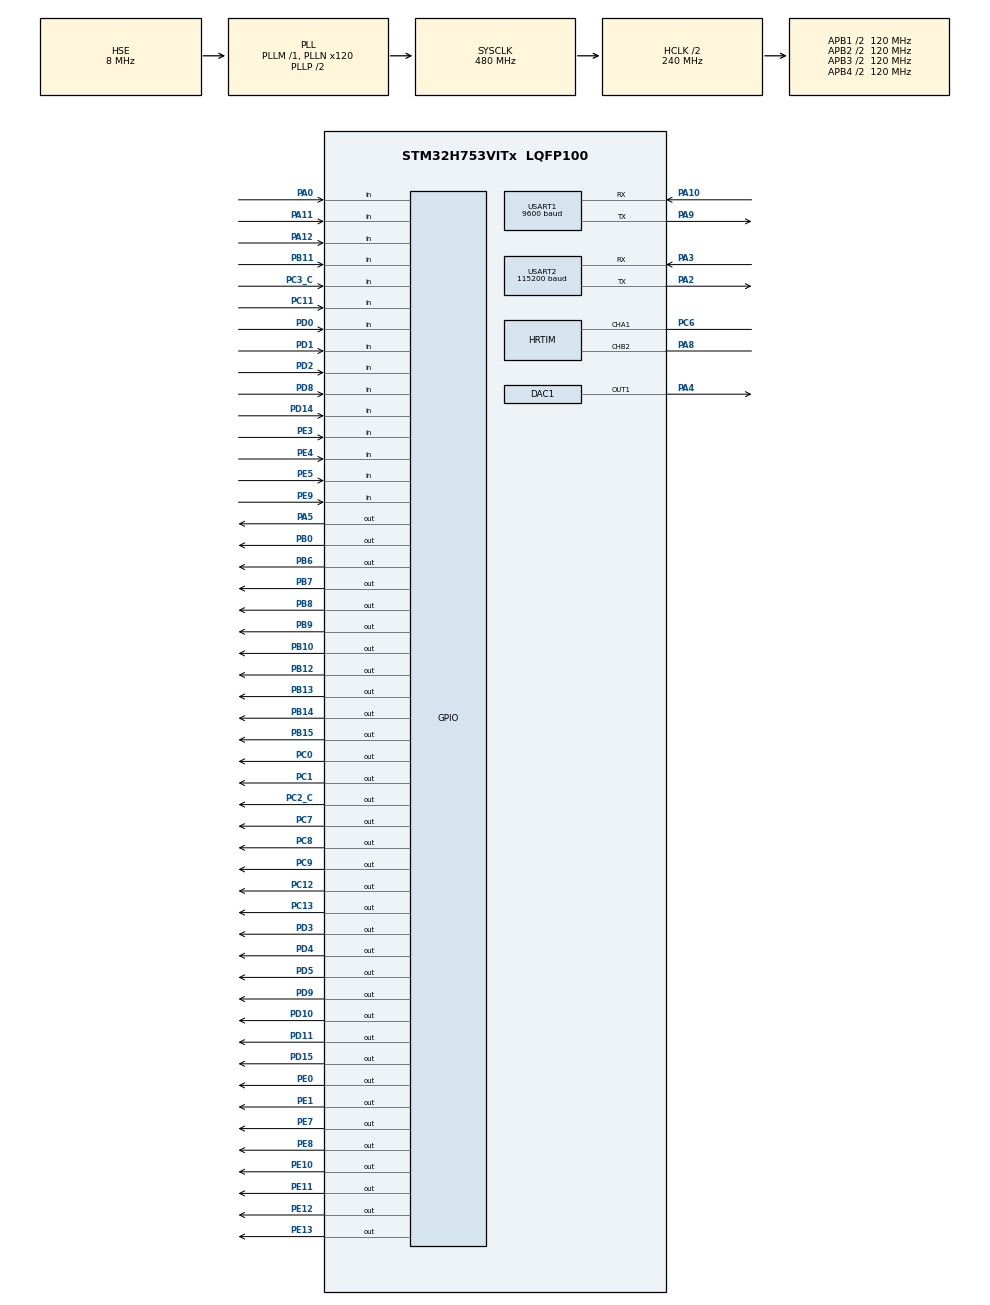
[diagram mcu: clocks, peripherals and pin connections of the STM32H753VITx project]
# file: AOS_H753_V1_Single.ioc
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CORTEX_M7.Enable_Spec=__NULL
CORTEX_M7.MPU_Control=__NULL
CORTEX_M7.default_mode_Activation=0
DAC1.DAC_Channel-DAC_OUT1=DAC_CHANNEL_1
HRTIM.CompareUnit1-Output_TA1=HRTIM_COMPAREUNIT_1
HRTIM.CompareUnit1-Output_TB2=HRTIM_COMPAREUNIT_1
HRTIM.PreloadEnable-Output_TA1=HRTIM_PRELOAD_ENABLED
HRTIM.RepetitionUpdate-Output_TA1=HRTIM_UPDATEONREPETITION_ENABLED
Mcu.Family=STM32H7
Mcu.Name=STM32H753VITx
Mcu.Package=LQFP100
NVIC.PriorityGroup=NVIC_PRIORITYGROUP_4
NVIC.TIM2_IRQn=true\:0\:0\:false\:false\:true\:true\:true\:true
NVIC.TIM3_IRQn=true\:0\:0\:false\:false\:true\:true\:true\:true
NVIC.TIM4_IRQn=true\:0\:0\:false\:false\:true\:true\:true\:true
NVIC.USART2_IRQn=true\:0\:0\:false\:false\:true\:true\:true\:true
PA0.Signal=GPIO_Input
PA10.Mode=Asynchronous
PA10.Signal=USART1_RX
PA11.Signal=GPIO_Input
PA12.Signal=GPIO_Input
PA2.Mode=Asynchronous
PA2.Signal=USART2_TX
PA3.Mode=Asynchronous
PA3.Signal=USART2_RX
PA4.Signal=COMP_DAC11_group
PA5.Signal=GPIO_Output
PA7.Signal=SPI1_MOSI
PA8.Mode=Output_TB2
PA8.Signal=HRTIM_CHB2
PA9.Mode=Asynchronous
PA9.Signal=USART1_TX
PB0.Signal=GPIO_Output
PB10.Signal=GPIO_Output
PB11.Signal=GPIO_Input
PB12.Signal=GPIO_Output
PB13.Signal=GPIO_Output
PB14.Signal=GPIO_Output
PB15.Signal=GPIO_Output
PB6.Signal=GPIO_Output
PB7.Signal=GPIO_Output
PB8.Signal=GPIO_Output
PB9.Signal=GPIO_Output
PC0.Signal=GPIO_Output
PC1.Signal=GPIO_Output
PC11.Signal=GPIO_Input
PC12.Signal=GPIO_Output
PC13.Signal=GPIO_Output
PC14-OSC32_IN\ (OSC32_IN).Mode=LSE-External-Oscillator
PC14-OSC32_IN\ (OSC32_IN).Signal=RCC_OSC32_IN
PC15-OSC32_OUT\ (OSC32_OUT).Mode=LSE-External-Oscillator
PC15-OSC32_OUT\ (OSC32_OUT).Signal=RCC_OSC32_OUT
PC2_C.Signal=GPIO_Output
PC3_C.Signal=GPIO_Input
PC6.Mode=Output_TA1
PC6.Signal=HRTIM_CHA1
PC7.Signal=GPIO_Output
PC8.Signal=GPIO_Output
PC9.Signal=GPIO_Output
PD0.Signal=GPIO_Input
PD1.Signal=GPIO_Input
PD10.Signal=GPIO_Output
PD11.Signal=GPIO_Output
PD14.Signal=GPIO_Input
PD15.Signal=GPIO_Output
PD2.Signal=GPIO_Input
PD3.Signal=GPIO_Output
PD4.Signal=GPIO_Output
PD5.Signal=GPIO_Output
PD8.Signal=GPIO_Input
PD9.Signal=GPIO_Output
PE0.Signal=GPIO_Output
PE1.Signal=GPIO_Output
PE10.Signal=GPIO_Output
PE11.Signal=GPIO_Output
PE12.Signal=GPIO_Output
PE13.Signal=GPIO_Output
PE3.Signal=GPIO_Input
PE4.Signal=GPIO_Input
PE5.Signal=GPIO_Input
PE7.Signal=GPIO_Output
PE8.Signal=GPIO_Output
PE9.Signal=GPIO_Input
PH0-OSC_IN\ (PH0).Mode=HSE-External-Oscillator
PH0-OSC_IN\ (PH0).Signal=RCC_OSC_IN
PH1-OSC_OUT\ (PH1).Mode=HSE-External-Oscillator
PH1-OSC_OUT\ (PH1).Signal=RCC_OSC_OUT
ProjectManager.HeapSize=0x800
ProjectManager.StackSize=0x800
ProjectManager.TargetToolchain=STM32CubeIDE
RCC.ADCCLockSelection=RCC_ADCCLKSOURCE_CLKP
RCC.ADCFreq_Value=32000000
RCC.APB1Freq_Value=120000000
RCC.APB2Freq_Value=120000000
RCC.APB3Freq_Value=120000000
RCC.APB4Freq_Value=120000000
RCC.CortexFreq_Value=480000000
RCC.D1PPRE=RCC_APB3_DIV2
RCC.D2PPRE1=RCC_APB1_DIV2
RCC.D2PPRE2=RCC_APB2_DIV2
RCC.D3PPRE=RCC_APB4_DIV2
RCC.DIVM1=1
RCC.DIVM2=1
RCC.DIVN1=120
RCC.DIVN2=20
RCC.DIVP2=8
RCC.HCLKFreq_Value=240000000
RCC.HPRE=RCC_HCLK_DIV2
RCC.HRTIMCLockSelection=RCC_HRTIM1CLK_CPUCLK
RCC.HSE_VALUE=8000000
RCC.HSIDiv=RCC_PLLSAIDIVR_2
RCC.PLL1_VCI_Range-AdvancedSettings=RCC_PLL1VCIRANGE_0
RCC.PLL2FRACN=0
RCC.PLL2_VCI_Range-AdvancedSettings=RCC_PLL2VCIRANGE_0
RCC.PLL3FRACN=0
RCC.PLL3_VCI_Range-AdvancedSettings=RCC_PLL3VCIRANGE_0
RCC.PLLFRACN=0
RCC.PLLSourceVirtual=RCC_PLLSOURCE_HSE
RCC.SPI123CLockSelection=RCC_SPI123CLKSOURCE_PLL2
RCC.SYSCLKFreq_VALUE=480000000
RCC.SYSCLKSource=RCC_SYSCLKSOURCE_PLLCLK
RCC.USBFreq_Value=480000000
SH.COMP_DAC11_group.0=DAC1_OUT1,DAC_OUT1
TIM2.Period=240-1
TIM2.Prescaler=999
TIM3.Period=240-1
TIM3.Prescaler=9999
TIM4.Period=280-1
TIM4.Prescaler=100-1
TIM4.TIM_MasterOutputTrigger=TIM_TRGO_UPDATE
TIM4.TIM_MasterSlaveMode=TIM_MASTERSLAVEMODE_ENABLE
USART1.BaudRate=9600
USART1.VirtualMode-Asynchronous=VM_ASYNC
USART2.BaudRate=115200
USART2.VirtualMode-Asynchronous=VM_ASYNC
VP_HRTIM_VS_hrtimMasterTimerNoOutput.Mode=MasterTimer
VP_MEMORYMAP_VS_MEMORYMAP.Mode=CurAppReg
VP_TIM2_VS_ClockSourceINT.Mode=Internal
VP_TIM2_VS_ClockSourceITR.Mode=TriggerSource_ITR0
VP_TIM3_VS_ClockSourceINT.Mode=Internal
VP_TIM3_VS_ClockSourceITR.Mode=TriggerSource_ITR0
VP_TIM4_VS_ClockSourceINT.Mode=Internal
board=custom

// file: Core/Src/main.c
/* USER CODE BEGIN Header */
/**
  ******************************************************************************
  * @file           : main.c
  * @brief          : Main program body
  ******************************************************************************
  * @attention
  *
  * Copyright (c) 2025 STMicroelectronics.
  * All rights reserved.
  *
  * This software is licensed under terms that can be found in the LICENSE file
  * in the root directory of this software component.
  * If no LICENSE file comes with this software, it is provided AS-IS.
  *
  ******************************************************************************
  */
/* USER CODE END Header */
#include "main.h"

/* USER CODE BEGIN Includes */
#include "UART_PC.h"
#include "MyGPIOSet.h"
#include "ScanCTL.h"
#include "util.h"

/* USER CODE END Includes */

DAC_HandleTypeDef hdac1;

HRTIM_HandleTypeDef hhrtim;

TIM_HandleTypeDef htim2;
TIM_HandleTypeDef htim3;
TIM_HandleTypeDef htim4;

UART_HandleTypeDef huart1;
UART_HandleTypeDef huart2;

void SystemClock_Config(void);
static void MX_GPIO_Init(void);
static void MX_HRTIM_Init(void);
static void MX_TIM2_Init(void);
static void MX_TIM3_Init(void);
static void MX_USART1_UART_Init(void);
static void MX_USART2_UART_Init(void);
static void MX_TIM4_Init(void);
static void MX_DAC1_Init(void);

/* USER CODE BEGIN 0 */
HRTIM_TimeBaseCfgTypeDef            sConfig_time_base;
HRTIM_SimplePWMChannelCfgTypeDef    sConfig_Channel;
void Wave_Start_Ctl();
void HRTIM_SetPeriod(HRTIM_HandleTypeDef *hhrtim, uint32_t TimerIdx, uint32_t Period);
void HRTIM_SetCompare(HRTIM_HandleTypeDef *hhrtim, uint32_t TimerIdx, uint32_t CompareUnit, uint32_t Compare);

uint8_t rx1_byte;
//uint8_t rx1_byte_mod;
/* USER CODE END 0 */

int main(void)
{

  /* MCU Configuration--------------------------------------------------------*/

  /* Reset of all peripherals, Initializes the Flash interface and the Systick. */
  HAL_Init();

  /* USER CODE BEGIN Init */
  MData.BUS_CLOCK_CAL=480000;
  /* USER CODE END Init */

  /* Configure the system clock */
  SystemClock_Config();

  /* Initialize all configured peripherals */
  MX_GPIO_Init();
  MX_HRTIM_Init();
  MX_TIM2_Init();
  MX_TIM3_Init();
  MX_USART1_UART_Init();
  MX_USART2_UART_Init();
  MX_TIM4_Init();
  MX_DAC1_Init();

  /* Infinite loop */
  /* USER CODE BEGIN WHILE */

  //if (HAL_ADC_Start_DMA(&hadc1, (uint32_t*)adc_buffer, ADC_BUFFER_SIZE) != HAL_OK) printf("DMA Start Error!\r\n");

  	HAL_TIM_Base_Start_IT(&htim2);
  	HAL_TIM_Base_Start_IT(&htim3);
  	HAL_UART_Receive_IT(&huart2, &rx1_byte, 1);

  	System_Init();

  	DWT_Init(); // 한 번만 호출

  	//V1.7.x
  	HAL_DAC_Start(&hdac1, DAC_CHANNEL_1);
	while (1)
	{

    /* USER CODE END WHILE */

    /* USER CODE BEGIN 3 */

	  Main_CTL();
	  if(MData.FLAG.LED)
	  {
		  MData.FLAG.LED=false;
		  HAL_GPIO_TogglePin(GPIOB, GPIO_PIN_7);//LED
		  HAL_GPIO_TogglePin(GPIOB, GPIO_PIN_8);//LED
	  }

		if(MData.FLAG.UART_ERROR_RECOVER)
		{
			MData.FLAG.UART_ERROR_RECOVER=false;
			MData.UART_RECOVER_Count++;
			UART2_Recover();
		}
	}
  /* USER CODE END 3 */
}

void SystemClock_Config(void)
{
  RCC_OscInitTypeDef RCC_OscInitStruct = {0};
  RCC_ClkInitTypeDef RCC_ClkInitStruct = {0};

  /** Supply configuration update enable
  */
  HAL_PWREx_ConfigSupply(PWR_LDO_SUPPLY);

  /** Configure the main internal regulator output voltage
  */
  __HAL_PWR_VOLTAGESCALING_CONFIG(PWR_REGULATOR_VOLTAGE_SCALE0);

  while(!__HAL_PWR_GET_FLAG(PWR_FLAG_VOSRDY)) {}

  /** Initializes the RCC Oscillators according to the specified parameters
  * in the RCC_OscInitTypeDef structure.
  */
  RCC_OscInitStruct.OscillatorType = RCC_OSCILLATORTYPE_HSE;
  RCC_OscInitStruct.HSEState = RCC_HSE_ON;
  RCC_OscInitStruct.PLL.PLLState = RCC_PLL_ON;
  RCC_OscInitStruct.PLL.PLLSource = RCC_PLLSOURCE_HSE;
  RCC_OscInitStruct.PLL.PLLM = 1;
  RCC_OscInitStruct.PLL.PLLN = 120;
  RCC_OscInitStruct.PLL.PLLP = 2;
  RCC_OscInitStruct.PLL.PLLQ = 2;
  RCC_OscInitStruct.PLL.PLLR = 2;
  RCC_OscInitStruct.PLL.PLLRGE = RCC_PLL1VCIRANGE_3;
  RCC_OscInitStruct.PLL.PLLVCOSEL = RCC_PLL1VCOWIDE;
  RCC_OscInitStruct.PLL.PLLFRACN = 0;
  if (HAL_RCC_OscConfig(&RCC_OscInitStruct) != HAL_OK)
  {
    Error_Handler();
  }

  /** Initializes the CPU, AHB and APB buses clocks
  */
  RCC_ClkInitStruct.ClockType = RCC_CLOCKTYPE_HCLK|RCC_CLOCKTYPE_SYSCLK
                              |RCC_CLOCKTYPE_PCLK1|RCC_CLOCKTYPE_PCLK2
                              |RCC_CLOCKTYPE_D3PCLK1|RCC_CLOCKTYPE_D1PCLK1;
  RCC_ClkInitStruct.SYSCLKSource = RCC_SYSCLKSOURCE_PLLCLK;
  RCC_ClkInitStruct.SYSCLKDivider = RCC_SYSCLK_DIV1;
  RCC_ClkInitStruct.AHBCLKDivider = RCC_HCLK_DIV2;
  RCC_ClkInitStruct.APB3CLKDivider = RCC_APB3_DIV2;
  RCC_ClkInitStruct.APB1CLKDivider = RCC_APB1_DIV2;
  RCC_ClkInitStruct.APB2CLKDivider = RCC_APB2_DIV2;
  RCC_ClkInitStruct.APB4CLKDivider = RCC_APB4_DIV2;

  if (HAL_RCC_ClockConfig(&RCC_ClkInitStruct, FLASH_LATENCY_4) != HAL_OK)
  {
    Error_Handler();
  }
}

static void MX_DAC1_Init(void)
{

  DAC_ChannelConfTypeDef sConfig = {0};

  /** DAC Initialization
  */
  hdac1.Instance = DAC1;
  if (HAL_DAC_Init(&hdac1) != HAL_OK)
  {
    Error_Handler();
  }

  /** DAC channel OUT1 config
  */
  sConfig.DAC_SampleAndHold = DAC_SAMPLEANDHOLD_DISABLE;
  sConfig.DAC_Trigger = DAC_TRIGGER_NONE;
  sConfig.DAC_OutputBuffer = DAC_OUTPUTBUFFER_ENABLE;
  sConfig.DAC_ConnectOnChipPeripheral = DAC_CHIPCONNECT_DISABLE;
  sConfig.DAC_UserTrimming = DAC_TRIMMING_FACTORY;
  if (HAL_DAC_ConfigChannel(&hdac1, &sConfig, DAC_CHANNEL_1) != HAL_OK)
  {
    Error_Handler();
  }

}

static void MX_HRTIM_Init(void)
{

  HRTIM_TimeBaseCfgTypeDef pTimeBaseCfg = {0};
  HRTIM_TimerCfgTypeDef pTimerCfg = {0};
  HRTIM_CompareCfgTypeDef pCompareCfg = {0};
  HRTIM_OutputCfgTypeDef pOutputCfg = {0};

  hhrtim.Instance = HRTIM1;
  hhrtim.Init.HRTIMInterruptResquests = HRTIM_IT_NONE;
  hhrtim.Init.SyncOptions = HRTIM_SYNCOPTION_NONE;
  if (HAL_HRTIM_Init(&hhrtim) != HAL_OK)
  {
    Error_Handler();
  }
  pTimeBaseCfg.Period = 0xFFFD;
  pTimeBaseCfg.RepetitionCounter = 0x00;
  pTimeBaseCfg.PrescalerRatio = HRTIM_PRESCALERRATIO_DIV1;
  pTimeBaseCfg.Mode = HRTIM_MODE_CONTINUOUS;
  if (HAL_HRTIM_TimeBaseConfig(&hhrtim, HRTIM_TIMERINDEX_MASTER, &pTimeBaseCfg) != HAL_OK)
  {
    Error_Handler();
  }
  pTimerCfg.InterruptRequests = HRTIM_MASTER_IT_NONE;
  pTimerCfg.DMARequests = HRTIM_MASTER_DMA_NONE;
  pTimerCfg.DMASrcAddress = 0x0000;
  pTimerCfg.DMADstAddress = 0x0000;
  pTimerCfg.DMASize = 0x1;
  pTimerCfg.HalfModeEnable = HRTIM_HALFMODE_DISABLED;
  pTimerCfg.StartOnSync = HRTIM_SYNCSTART_DISABLED;
  pTimerCfg.ResetOnSync = HRTIM_SYNCRESET_DISABLED;
  pTimerCfg.DACSynchro = HRTIM_DACSYNC_NONE;
  pTimerCfg.PreloadEnable = HRTIM_PRELOAD_DISABLED;
  pTimerCfg.UpdateGating = HRTIM_UPDATEGATING_INDEPENDENT;
  pTimerCfg.BurstMode = HRTIM_TIMERBURSTMODE_MAINTAINCLOCK;
  pTimerCfg.RepetitionUpdate = HRTIM_UPDATEONREPETITION_DISABLED;
  if (HAL_HRTIM_WaveformTimerConfig(&hhrtim, HRTIM_TIMERINDEX_MASTER, &pTimerCfg) != HAL_OK)
  {
    Error_Handler();
  }
  if (HAL_HRTIM_TimeBaseConfig(&hhrtim, HRTIM_TIMERINDEX_TIMER_A, &pTimeBaseCfg) != HAL_OK)
  {
    Error_Handler();
  }
  pTimerCfg.InterruptRequests = HRTIM_TIM_IT_NONE;
  pTimerCfg.DMARequests = HRTIM_TIM_DMA_NONE;
  pTimerCfg.PreloadEnable = HRTIM_PRELOAD_ENABLED;
  pTimerCfg.RepetitionUpdate = HRTIM_UPDATEONREPETITION_ENABLED;
  pTimerCfg.PushPull = HRTIM_TIMPUSHPULLMODE_DISABLED;
  pTimerCfg.FaultEnable = HRTIM_TIMFAULTENABLE_NONE;
  pTimerCfg.FaultLock = HRTIM_TIMFAULTLOCK_READWRITE;
  pTimerCfg.DeadTimeInsertion = HRTIM_TIMDEADTIMEINSERTION_DISABLED;
  pTimerCfg.DelayedProtectionMode = HRTIM_TIMER_A_B_C_DELAYEDPROTECTION_DISABLED;
  pTimerCfg.UpdateTrigger = HRTIM_TIMUPDATETRIGGER_NONE;
  pTimerCfg.ResetTrigger = HRTIM_TIMRESETTRIGGER_NONE;
  pTimerCfg.ResetUpdate = HRTIM_TIMUPDATEONRESET_DISABLED;
  if (HAL_HRTIM_WaveformTimerConfig(&hhrtim, HRTIM_TIMERINDEX_TIMER_A, &pTimerCfg) != HAL_OK)
  {
    Error_Handler();
  }
  pTimerCfg.PreloadEnable = HRTIM_PRELOAD_DISABLED;
  pTimerCfg.RepetitionUpdate = HRTIM_UPDATEONREPETITION_DISABLED;
  if (HAL_HRTIM_WaveformTimerConfig(&hhrtim, HRTIM_TIMERINDEX_TIMER_B, &pTimerCfg) != HAL_OK)
  {
    Error_Handler();
  }
  pCompareCfg.CompareValue = 0xFFFD;
  if (HAL_HRTIM_WaveformCompareConfig(&hhrtim, HRTIM_TIMERINDEX_TIMER_A, HRTIM_COMPAREUNIT_1, &pCompareCfg) != HAL_OK)
  {
    Error_Handler();
  }
  pOutputCfg.Polarity = HRTIM_OUTPUTPOLARITY_HIGH;
  pOutputCfg.SetSource = HRTIM_OUTPUTSET_NONE;
  pOutputCfg.ResetSource = HRTIM_OUTPUTRESET_NONE;
  pOutputCfg.IdleMode = HRTIM_OUTPUTIDLEMODE_NONE;
  pOutputCfg.IdleLevel = HRTIM_OUTPUTIDLELEVEL_INACTIVE;
  pOutputCfg.FaultLevel = HRTIM_OUTPUTFAULTLEVEL_NONE;
  pOutputCfg.ChopperModeEnable = HRTIM_OUTPUTCHOPPERMODE_DISABLED;
  pOutputCfg.BurstModeEntryDelayed = HRTIM_OUTPUTBURSTMODEENTRY_REGULAR;
  if (HAL_HRTIM_WaveformOutputConfig(&hhrtim, HRTIM_TIMERINDEX_TIMER_A, HRTIM_OUTPUT_TA1, &pOutputCfg) != HAL_OK)
  {
    Error_Handler();
  }
  if (HAL_HRTIM_TimeBaseConfig(&hhrtim, HRTIM_TIMERINDEX_TIMER_B, &pTimeBaseCfg) != HAL_OK)
  {
    Error_Handler();
  }
  if (HAL_HRTIM_WaveformCompareConfig(&hhrtim, HRTIM_TIMERINDEX_TIMER_B, HRTIM_COMPAREUNIT_1, &pCompareCfg) != HAL_OK)
  {
    Error_Handler();
  }
  if (HAL_HRTIM_WaveformOutputConfig(&hhrtim, HRTIM_TIMERINDEX_TIMER_B, HRTIM_OUTPUT_TB2, &pOutputCfg) != HAL_OK)
  {
    Error_Handler();
  }
  /* USER CODE BEGIN HRTIM_Init 2 */

	uint32_t period = (uint32_t)(MData.BUS_CLOCK_CAL/MData.SET.Frq); //2200kHz Cal. Value
	//uint32_t duty_count = (uint32_t)((float)period * (100-MData.SET.Duty)/100.0f);

	sConfig_time_base.Mode = HRTIM_MODE_CONTINUOUS;
	sConfig_time_base.Period = period;//HRTIM_MAX_PERIOD;
	sConfig_time_base.PrescalerRatio = HRTIM_PRESCALERRATIO_DIV1;
	sConfig_time_base.RepetitionCounter = 0;

	HAL_HRTIM_TimeBaseConfig(&hhrtim, HRTIM_TIMERINDEX_TIMER_A, &sConfig_time_base);

	HRTIM_OutputCfgTypeDef output_cfg = {0};
	output_cfg.Polarity = HRTIM_OUTPUTPOLARITY_LOW;
	output_cfg.IdleMode = HRTIM_OUTPUTIDLEMODE_NONE;
	output_cfg.IdleLevel = HRTIM_OUTPUTIDLELEVEL_INACTIVE;
	output_cfg.FaultLevel = HRTIM_OUTPUTFAULTLEVEL_NONE;
	output_cfg.ChopperModeEnable = HRTIM_OUTPUTCHOPPERMODE_DISABLED;
	output_cfg.BurstModeEntryDelayed = HRTIM_OUTPUTBURSTMODEENTRY_REGULAR;

	HAL_HRTIM_WaveformOutputConfig(&hhrtim, HRTIM_TIMERINDEX_TIMER_A, HRTIM_OUTPUT_TA1, &output_cfg);

  /* USER CODE END HRTIM_Init 2 */
  HAL_HRTIM_MspPostInit(&hhrtim);

}

static void MX_TIM2_Init(void)
{

  TIM_ClockConfigTypeDef sClockSourceConfig = {0};
  TIM_SlaveConfigTypeDef sSlaveConfig = {0};
  TIM_MasterConfigTypeDef sMasterConfig = {0};

  htim2.Instance = TIM2;
  htim2.Init.Prescaler = 999;
  htim2.Init.CounterMode = TIM_COUNTERMODE_UP;
  htim2.Init.Period = 240-1;
  htim2.Init.ClockDivision = TIM_CLOCKDIVISION_DIV1;
  htim2.Init.AutoReloadPreload = TIM_AUTORELOAD_PRELOAD_DISABLE;
  if (HAL_TIM_Base_Init(&htim2) != HAL_OK)
  {
    Error_Handler();
  }
  sClockSourceConfig.ClockSource = TIM_CLOCKSOURCE_INTERNAL;
  if (HAL_TIM_ConfigClockSource(&htim2, &sClockSourceConfig) != HAL_OK)
  {
    Error_Handler();
  }
  sSlaveConfig.SlaveMode = TIM_SLAVEMODE_DISABLE;
  sSlaveConfig.InputTrigger = TIM_TS_ITR0;
  if (HAL_TIM_SlaveConfigSynchro(&htim2, &sSlaveConfig) != HAL_OK)
  {
    Error_Handler();
  }
  sMasterConfig.MasterOutputTrigger = TIM_TRGO_RESET;
  sMasterConfig.MasterSlaveMode = TIM_MASTERSLAVEMODE_DISABLE;
  if (HAL_TIMEx_MasterConfigSynchronization(&htim2, &sMasterConfig) != HAL_OK)
  {
    Error_Handler();
  }

}

static void MX_TIM3_Init(void)
{

  TIM_ClockConfigTypeDef sClockSourceConfig = {0};
  TIM_SlaveConfigTypeDef sSlaveConfig = {0};
  TIM_MasterConfigTypeDef sMasterConfig = {0};

  htim3.Instance = TIM3;
  htim3.Init.Prescaler = 9999;
  htim3.Init.CounterMode = TIM_COUNTERMODE_UP;
  htim3.Init.Period = 240-1;
  htim3.Init.ClockDivision = TIM_CLOCKDIVISION_DIV1;
  htim3.Init.AutoReloadPreload = TIM_AUTORELOAD_PRELOAD_DISABLE;
  if (HAL_TIM_Base_Init(&htim3) != HAL_OK)
  {
    Error_Handler();
  }
  sClockSourceConfig.ClockSource = TIM_CLOCKSOURCE_INTERNAL;
  if (HAL_TIM_ConfigClockSource(&htim3, &sClockSourceConfig) != HAL_OK)
  {
    Error_Handler();
  }
  sSlaveConfig.SlaveMode = TIM_SLAVEMODE_DISABLE;
  sSlaveConfig.InputTrigger = TIM_TS_ITR0;
  if (HAL_TIM_SlaveConfigSynchro(&htim3, &sSlaveConfig) != HAL_OK)
  {
    Error_Handler();
  }
  sMasterConfig.MasterOutputTrigger = TIM_TRGO_RESET;
  sMasterConfig.MasterSlaveMode = TIM_MASTERSLAVEMODE_DISABLE;
  if (HAL_TIMEx_MasterConfigSynchronization(&htim3, &sMasterConfig) != HAL_OK)
  {
    Error_Handler();
  }

}

static void MX_TIM4_Init(void)
{

  TIM_ClockConfigTypeDef sClockSourceConfig = {0};
  TIM_MasterConfigTypeDef sMasterConfig = {0};

  htim4.Instance = TIM4;
  htim4.Init.Prescaler = 100-1;
  htim4.Init.CounterMode = TIM_COUNTERMODE_UP;
  htim4.Init.Period = 280-1;
  htim4.Init.ClockDivision = TIM_CLOCKDIVISION_DIV1;
  htim4.Init.AutoReloadPreload = TIM_AUTORELOAD_PRELOAD_DISABLE;
  if (HAL_TIM_Base_Init(&htim4) != HAL_OK)
  {
    Error_Handler();
  }
  sClockSourceConfig.ClockSource = TIM_CLOCKSOURCE_INTERNAL;
  if (HAL_TIM_ConfigClockSource(&htim4, &sClockSourceConfig) != HAL_OK)
  {
    Error_Handler();
  }
  sMasterConfig.MasterOutputTrigger = TIM_TRGO_UPDATE;
  sMasterConfig.MasterSlaveMode = TIM_MASTERSLAVEMODE_ENABLE;
  if (HAL_TIMEx_MasterConfigSynchronization(&htim4, &sMasterConfig) != HAL_OK)
  {
    Error_Handler();
  }

}

static void MX_USART1_UART_Init(void)
{

  huart1.Instance = USART1;
  huart1.Init.BaudRate = 9600;
  huart1.Init.WordLength = UART_WORDLENGTH_8B;
  huart1.Init.StopBits = UART_STOPBITS_1;
  huart1.Init.Parity = UART_PARITY_NONE;
  huart1.Init.Mode = UART_MODE_TX_RX;
  huart1.Init.HwFlowCtl = UART_HWCONTROL_NONE;
  huart1.Init.OverSampling = UART_OVERSAMPLING_16;
  huart1.Init.OneBitSampling = UART_ONE_BIT_SAMPLE_DISABLE;
  huart1.Init.ClockPrescaler = UART_PRESCALER_DIV1;
  huart1.AdvancedInit.AdvFeatureInit = UART_ADVFEATURE_NO_INIT;
  if (HAL_UART_Init(&huart1) != HAL_OK)
  {
    Error_Handler();
  }
  if (HAL_UARTEx_SetTxFifoThreshold(&huart1, UART_TXFIFO_THRESHOLD_1_8) != HAL_OK)
  {
    Error_Handler();
  }
  if (HAL_UARTEx_SetRxFifoThreshold(&huart1, UART_RXFIFO_THRESHOLD_1_8) != HAL_OK)
  {
    Error_Handler();
  }
  if (HAL_UARTEx_DisableFifoMode(&huart1) != HAL_OK)
  {
    Error_Handler();
  }

}

static void MX_USART2_UART_Init(void)
{

  huart2.Instance = USART2;
  huart2.Init.BaudRate = 38400;
  huart2.Init.WordLength = UART_WORDLENGTH_8B;
  huart2.Init.StopBits = UART_STOPBITS_1;
  huart2.Init.Parity = UART_PARITY_NONE;
  huart2.Init.Mode = UART_MODE_TX_RX;
  huart2.Init.HwFlowCtl = UART_HWCONTROL_NONE;
  huart2.Init.OverSampling = UART_OVERSAMPLING_16;
  huart2.Init.OneBitSampling = UART_ONE_BIT_SAMPLE_DISABLE;
  huart2.Init.ClockPrescaler = UART_PRESCALER_DIV1;
  huart2.AdvancedInit.AdvFeatureInit = UART_ADVFEATURE_NO_INIT;
  if (HAL_UART_Init(&huart2) != HAL_OK)
  {
    Error_Handler();
  }
  if (HAL_UARTEx_SetTxFifoThreshold(&huart2, UART_TXFIFO_THRESHOLD_1_8) != HAL_OK)
  {
    Error_Handler();
  }
  if (HAL_UARTEx_SetRxFifoThreshold(&huart2, UART_RXFIFO_THRESHOLD_1_8) != HAL_OK)
  {
    Error_Handler();
  }
  if (HAL_UARTEx_DisableFifoMode(&huart2) != HAL_OK)
  {
    Error_Handler();
  }

}

static void MX_GPIO_Init(void)
{
  GPIO_InitTypeDef GPIO_InitStruct = {0};

  /* GPIO Ports Clock Enable */
  __HAL_RCC_GPIOE_CLK_ENABLE();
  __HAL_RCC_GPIOC_CLK_ENABLE();
  __HAL_RCC_GPIOH_CLK_ENABLE();
  __HAL_RCC_GPIOA_CLK_ENABLE();
  __HAL_RCC_GPIOB_CLK_ENABLE();
  __HAL_RCC_GPIOD_CLK_ENABLE();

  /*Configure GPIO pin Output Level */
  HAL_GPIO_WritePin(GPIOC, GPIO_PIN_13|GPIO_PIN_0|GPIO_PIN_1|GPIO_PIN_2
                          |GPIO_PIN_7|GPIO_PIN_8|GPIO_PIN_9|GPIO_PIN_12, GPIO_PIN_RESET);

  /*Configure GPIO pin Output Level */
  HAL_GPIO_WritePin(GPIOA, GPIO_PIN_5, GPIO_PIN_RESET);

  /*Configure GPIO pin Output Level */
  HAL_GPIO_WritePin(GPIOB, GPIO_PIN_0|GPIO_PIN_10|GPIO_PIN_12|GPIO_PIN_13
                          |GPIO_PIN_14|GPIO_PIN_15|GPIO_PIN_6|GPIO_PIN_7
                          |GPIO_PIN_8|GPIO_PIN_9, GPIO_PIN_RESET);

  /*Configure GPIO pin Output Level */
  HAL_GPIO_WritePin(GPIOE, GPIO_PIN_7|GPIO_PIN_8|GPIO_PIN_10|GPIO_PIN_11
                          |GPIO_PIN_12|GPIO_PIN_13|GPIO_PIN_0|GPIO_PIN_1, GPIO_PIN_RESET);

  /*Configure GPIO pin Output Level */
  HAL_GPIO_WritePin(GPIOD, GPIO_PIN_9|GPIO_PIN_10|GPIO_PIN_11|GPIO_PIN_15
                          |GPIO_PIN_3|GPIO_PIN_4|GPIO_PIN_5, GPIO_PIN_RESET);

  /*Configure GPIO pins : PE3 PE4 PE5 PE9 */
  GPIO_InitStruct.Pin = GPIO_PIN_3|GPIO_PIN_4|GPIO_PIN_5|GPIO_PIN_9;
  GPIO_InitStruct.Mode = GPIO_MODE_INPUT;
  GPIO_InitStruct.Pull = GPIO_NOPULL;
  HAL_GPIO_Init(GPIOE, &GPIO_InitStruct);

  /*Configure GPIO pins : PC13 PC0 PC1 PC2
                           PC7 PC8 PC9 PC12 */
  GPIO_InitStruct.Pin = GPIO_PIN_13|GPIO_PIN_0|GPIO_PIN_1|GPIO_PIN_2
                          |GPIO_PIN_7|GPIO_PIN_8|GPIO_PIN_9|GPIO_PIN_12;
  GPIO_InitStruct.Mode = GPIO_MODE_OUTPUT_PP;
  GPIO_InitStruct.Pull = GPIO_NOPULL;
  GPIO_InitStruct.Speed = GPIO_SPEED_FREQ_LOW;
  HAL_GPIO_Init(GPIOC, &GPIO_InitStruct);

  /*Configure GPIO pins : PC3 PC11 */
  GPIO_InitStruct.Pin = GPIO_PIN_3|GPIO_PIN_11;
  GPIO_InitStruct.Mode = GPIO_MODE_INPUT;
  GPIO_InitStruct.Pull = GPIO_NOPULL;
  HAL_GPIO_Init(GPIOC, &GPIO_InitStruct);

  /*Configure GPIO pins : PA0 PA11 PA12 */
  GPIO_InitStruct.Pin = GPIO_PIN_0|GPIO_PIN_11|GPIO_PIN_12;
  GPIO_InitStruct.Mode = GPIO_MODE_INPUT;
  GPIO_InitStruct.Pull = GPIO_NOPULL;
  HAL_GPIO_Init(GPIOA, &GPIO_InitStruct);

  /*Configure GPIO pin : PA5 */
  GPIO_InitStruct.Pin = GPIO_PIN_5;
  GPIO_InitStruct.Mode = GPIO_MODE_OUTPUT_PP;
  GPIO_InitStruct.Pull = GPIO_NOPULL;
  GPIO_InitStruct.Speed = GPIO_SPEED_FREQ_LOW;
  HAL_GPIO_Init(GPIOA, &GPIO_InitStruct);

  /*Configure GPIO pin : PA7 */
  GPIO_InitStruct.Pin = GPIO_PIN_7;
  GPIO_InitStruct.Mode = GPIO_MODE_AF_PP;
  GPIO_InitStruct.Pull = GPIO_NOPULL;
  GPIO_InitStruct.Speed = GPIO_SPEED_FREQ_LOW;
  GPIO_InitStruct.Alternate = GPIO_AF5_SPI1;
  HAL_GPIO_Init(GPIOA, &GPIO_InitStruct);

  /*Configure GPIO pins : PB0 PB10 PB12 PB13
                           PB14 PB15 PB6 PB7
                           PB8 PB9 */
  GPIO_InitStruct.Pin = GPIO_PIN_0|GPIO_PIN_10|GPIO_PIN_12|GPIO_PIN_13
                          |GPIO_PIN_14|GPIO_PIN_15|GPIO_PIN_6|GPIO_PIN_7
                          |GPIO_PIN_8|GPIO_PIN_9;
  GPIO_InitStruct.Mode = GPIO_MODE_OUTPUT_PP;
  GPIO_InitStruct.Pull = GPIO_NOPULL;
  GPIO_InitStruct.Speed = GPIO_SPEED_FREQ_LOW;
  HAL_GPIO_Init(GPIOB, &GPIO_InitStruct);

  /*Configure GPIO pins : PE7 PE8 PE10 PE11
                           PE12 PE13 PE0 PE1 */
  GPIO_InitStruct.Pin = GPIO_PIN_7|GPIO_PIN_8|GPIO_PIN_10|GPIO_PIN_11
                          |GPIO_PIN_12|GPIO_PIN_13|GPIO_PIN_0|GPIO_PIN_1;
  GPIO_InitStruct.Mode = GPIO_MODE_OUTPUT_PP;
  GPIO_InitStruct.Pull = GPIO_NOPULL;
  GPIO_InitStruct.Speed = GPIO_SPEED_FREQ_LOW;
  HAL_GPIO_Init(GPIOE, &GPIO_InitStruct);

  /*Configure GPIO pin : PB11 */
  GPIO_InitStruct.Pin = GPIO_PIN_11;
  GPIO_InitStruct.Mode = GPIO_MODE_INPUT;
  GPIO_InitStruct.Pull = GPIO_NOPULL;
  HAL_GPIO_Init(GPIOB, &GPIO_InitStruct);

  /*Configure GPIO pins : PD8 PD14 PD0 PD1
                           PD2 */
  GPIO_InitStruct.Pin = GPIO_PIN_8|GPIO_PIN_14|GPIO_PIN_0|GPIO_PIN_1
                          |GPIO_PIN_2;
  GPIO_InitStruct.Mode = GPIO_MODE_INPUT;
  GPIO_InitStruct.Pull = GPIO_NOPULL;
  HAL_GPIO_Init(GPIOD, &GPIO_InitStruct);

  /*Configure GPIO pins : PD9 PD10 PD11 PD15
                           PD3 PD4 PD5 */
  GPIO_InitStruct.Pin = GPIO_PIN_9|GPIO_PIN_10|GPIO_PIN_11|GPIO_PIN_15
                          |GPIO_PIN_3|GPIO_PIN_4|GPIO_PIN_5;
  GPIO_InitStruct.Mode = GPIO_MODE_OUTPUT_PP;
  GPIO_InitStruct.Pull = GPIO_NOPULL;
  GPIO_InitStruct.Speed = GPIO_SPEED_FREQ_LOW;
  HAL_GPIO_Init(GPIOD, &GPIO_InitStruct);

  /*AnalogSwitch Config */
  HAL_SYSCFG_AnalogSwitchConfig(SYSCFG_SWITCH_PC2, SYSCFG_SWITCH_PC2_CLOSE);

}

/* USER CODE BEGIN 4 */

/// LF Control
void MX_TIM4_Update(u16 period)
{

  /* USER CODE BEGIN TIM4_Init 0 */

  /* USER CODE END TIM4_Init 0 */

  TIM_ClockConfigTypeDef sClockSourceConfig = {0};
  TIM_MasterConfigTypeDef sMasterConfig = {0};

  /* USER CODE BEGIN TIM4_Init 1 */

  /* USER CODE END TIM4_Init 1 */
  htim4.Instance = TIM4;
  htim4.Init.Prescaler = period;//100-1;
  htim4.Init.CounterMode = TIM_COUNTERMODE_UP;
  htim4.Init.Period = 240-1;//1MHz
  htim4.Init.ClockDivision = TIM_CLOCKDIVISION_DIV1;
  htim4.Init.AutoReloadPreload = TIM_AUTORELOAD_PRELOAD_DISABLE;
  if (HAL_TIM_Base_Init(&htim4) != HAL_OK)
  {
    Error_Handler();
  }
  sClockSourceConfig.ClockSource = TIM_CLOCKSOURCE_INTERNAL;
  if (HAL_TIM_ConfigClockSource(&htim4, &sClockSourceConfig) != HAL_OK)
  {
    Error_Handler();
  }
  sMasterConfig.MasterOutputTrigger = TIM_TRGO_UPDATE;
  sMasterConfig.MasterSlaveMode = TIM_MASTERSLAVEMODE_ENABLE;
  if (HAL_TIMEx_MasterConfigSynchronization(&htim4, &sMasterConfig) != HAL_OK)
  {
    Error_Handler();
  }
  /* USER CODE BEGIN TIM4_Init 2 */

  /* USER CODE END TIM4_Init 2 */
}

void TIM4_OnOff(u8 value)
{
	if(value) 	HAL_TIM_Base_Start_IT(&htim4);
	else 		HAL_TIM_Base_Stop_IT(&htim4);

}

void DAC_Out(u16 value){
	value = value/16;

	//0.026V offset
	value = value + 21;
	if(value>=4096) value=4096;

	HAL_DAC_SetValue(&hdac1,DAC_CHANNEL_1, DAC_ALIGN_12B_R, value);
}

void SPI1_Data_Send(u8 size, u8 *data){

	uint8_t* pData = &data[0];
//	HAL_SPI_Transmit(&hspi1, pData, size, 2);
}

///////////////////
void Wave_Frq_and_Duty_Update(float frq, float duty)
{
	MData.OSET.Frq = frq;
	MData.OSET.Duty = duty;

	if (frq <= 0.0f || duty < 0.0f || duty > 100.0f) return;

	uint32_t period = (uint32_t)(480000000UL / (uint32_t)(frq * 1000UL));
	uint32_t compare = (uint32_t)((period * (100.0f - duty)) / 100.0f);

	HRTIM_SetPeriod(&hhrtim, HRTIM_TIMERINDEX_TIMER_A, period);
	HRTIM_SetCompare(&hhrtim, HRTIM_TIMERINDEX_TIMER_A, HRTIM_COMPAREUNIT_1, compare);

	HAL_HRTIM_WaveformCounterStart(&hhrtim, HRTIM_TIMERID_MASTER);
	MData.START_CTL.IsStartFlag=true;
}

void HRTIM_SetPeriod(HRTIM_HandleTypeDef *hhrtim, uint32_t TimerIdx, uint32_t Period)
{
    hhrtim->Instance->sTimerxRegs[TimerIdx].PERxR = Period;
}

void HRTIM_SetCompare(HRTIM_HandleTypeDef *hhrtim, uint32_t TimerIdx, uint32_t CompareUnit, uint32_t Compare)
{
    switch (CompareUnit)
    {
        case HRTIM_COMPAREUNIT_1:
            hhrtim->Instance->sTimerxRegs[TimerIdx].CMP1xR = Compare;
            break;
        case HRTIM_COMPAREUNIT_2:
            hhrtim->Instance->sTimerxRegs[TimerIdx].CMP2xR = Compare;
            break;
        case HRTIM_COMPAREUNIT_3:
            hhrtim->Instance->sTimerxRegs[TimerIdx].CMP3xR = Compare;
            break;
        case HRTIM_COMPAREUNIT_4:
            hhrtim->Instance->sTimerxRegs[TimerIdx].CMP4xR = Compare;
            break;
    }
}
void Wave_Frq_and_Duty_Init( ){
	MX_HRTIM_Init();
	// PWM 주기 및 듀티 설정
	HRTIM_SetPeriod(&hhrtim, HRTIM_TIMERINDEX_TIMER_A, 960);//default
	HRTIM_SetCompare(&hhrtim, HRTIM_TIMERINDEX_TIMER_A, HRTIM_COMPAREUNIT_1, 480);

	// 반드시 출력조건 설정
	HRTIM_OutputCfgTypeDef pOutputCfg = {0};
	pOutputCfg.Polarity = HRTIM_OUTPUTPOLARITY_HIGH;
	pOutputCfg.SetSource = HRTIM_OUTPUTSET_TIMCMP1;
	pOutputCfg.ResetSource = HRTIM_OUTPUTRESET_TIMPER;
	HAL_HRTIM_WaveformOutputConfig(&hhrtim, HRTIM_TIMERINDEX_TIMER_A, HRTIM_OUTPUT_TA1, &pOutputCfg);

	// 출력 시작
	HAL_HRTIM_WaveformOutputStart(&hhrtim, HRTIM_OUTPUT_TA1);
	HAL_HRTIM_WaveformCounterStart(&hhrtim, HRTIM_TIMERID_TIMER_A);
	HAL_HRTIM_WaveformCounterStart(&hhrtim, HRTIM_TIMERID_MASTER);

	//if (HAL_HRTIM_WaveformCounterStart(&hhrtim, HRTIM_TIMERID_TIMER_A) != HAL_OK) Error_Handler();
	//if (HAL_HRTIM_WaveformOutputStart(&hhrtim, HRTIM_OUTPUT_TA1) != HAL_OK) Error_Handler();
	//MData.START_CTL.IsStartFlag=true;
}

void FRQ_CAL_CTL()
{
	MData.BUS_CLOCK_CAL=480000; //default set
	Wave_Frq_and_Duty_Update(MData.SET.Frq, MData.SET.Duty);
}
void UART_Data_Send(u16 size, u8 *data)
{
	HAL_UART_Transmit(&huart2, data, size, 1000);
}

void UART_Data_Send_LCD(u16 size, u8 *data)
{
	HAL_UART_Transmit(&huart1, data, size, 1000);
}

void UART2_Recover(void)
{
    // 1) UART disable
    CLEAR_BIT(huart2.Instance->CR1, USART_CR1_UE);
    __DSB();

    // 2) UART clock OFF (Hard reset)
    __HAL_RCC_USART2_CLK_DISABLE();
    HAL_Delay(2);

    // 3) Clear error flags (safety)
    __HAL_UART_CLEAR_OREFLAG(&huart2);
    __HAL_UART_CLEAR_FEFLAG(&huart2);
    __HAL_UART_CLEAR_NEFLAG(&huart2);
    __HAL_UART_CLEAR_PEFLAG(&huart2);
    __HAL_UART_CLEAR_IDLEFLAG(&huart2);

    // 4) UART clock ON
    __HAL_RCC_USART2_CLK_ENABLE();

    // 5) HAL 재초기화
    HAL_UART_DeInit(&huart2);
    HAL_UART_Init(&huart2);

    // 6) RX FIFO flush (H7에서 매우 중요)
    huart2.Instance->RQR |= USART_RQR_RXFRQ;

    // 7) RX Interrupt 재시작
    HAL_UART_Receive_IT(&huart2, &rx1_byte, 1);
}

void HAL_UART_RxCpltCallback(UART_HandleTypeDef *huart)
{
    if(huart->Instance == USART2)
    {
        // rx1_byte에 수신된 데이터가 들어옴!
        // TODO: 원하는 데이터 처리 코드 작성
    	MData.TM.uart_err_check=0;
    	MData.TM.uart1=0;
    	RxQue1.Buf[RxQue1.Head++] = rx1_byte;
    	RxQue1.Head %= CMD_QUEUE_SIZE;
        // 예시: 다음 수신 인터럽트 재시작
        HAL_UART_Receive_IT(&huart2, &rx1_byte, 1);
    }
}

/*
void SPI2_Data_Send(u8 size, u8 *data){

	uint8_t* pData = &spi_tx_buffer[0];
	HAL_SPI_Transmit(&hspi2, pData, size, 2);
}
*/

//void HAL_ADC_ConvCpltCallback(ADC_HandleTypeDef* hadc)
//{
//    if(MData.IsSmartDelay && MData.SCAN.IsStart) ADC_Buffer_Done_Control();
//}

/* USER CODE END 4 */

void Error_Handler(void)
{
  __disable_irq();
  while (1)
  {
  }
}
